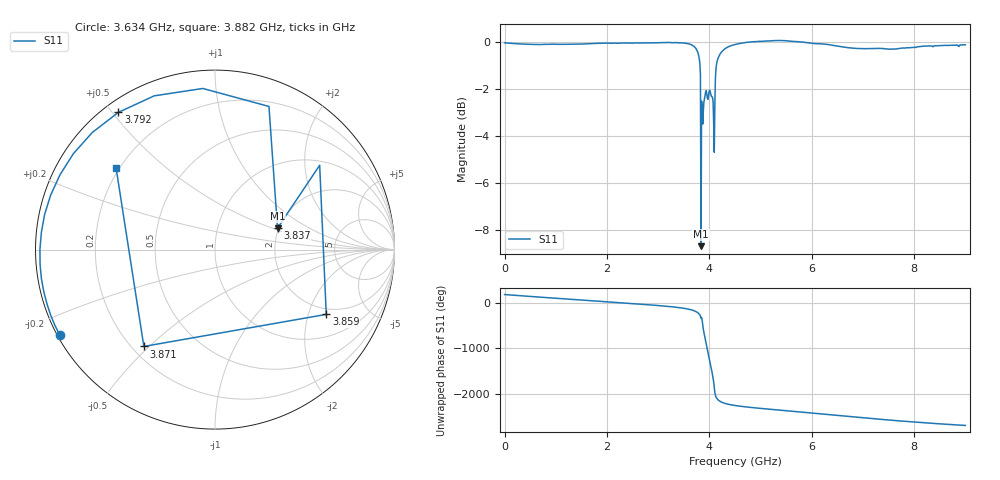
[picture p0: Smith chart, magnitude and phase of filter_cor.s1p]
# Hz S RI R 50
! CMT, SC5090, 20109241, 21.3.2/2
! Date: 11/4/2021 12:48:17 PM
! Data: Format (Calibration Info)
! Freq	S11:Re/Im(F1)
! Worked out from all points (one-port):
!   801 points, 1 MHz to 9 GHz, reference 50 ohm
!   lowest |S11| = -8.7 dB at 3.837 GHz (marker M1), VSWR 2.17, Z = 98.4 + j27.3 ohm
!   |S11| at or under -10 dB: nowhere
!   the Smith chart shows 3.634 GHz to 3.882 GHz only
!   S11 on the Smith chart (normalised r, x): 3.634 GHz: 0.01, -0.26; 3.792 GHz: 0.04, +0.52; 3.837 GHz: 1.97, +0.55; 3.859 GHz: 1.77, -2.63; 3.871 GHz: 0.25, -0.48; 3.882 GHz: 0.19, +0.35
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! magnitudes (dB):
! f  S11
! 1 MHz  0.0
! 1.126 GHz  -0.1
! 2.251 GHz  0.0
! 3.376 GHz  0.0
! 3.634 GHz  -0.1
! 3.724 GHz  -0.2
! 3.769 GHz  -0.4
! 3.781 GHz  -0.5
! 3.792 GHz  -0.6
! 3.837 GHz  -8.7
! 3.859 GHz  -2.9
! 3.871 GHz  -3.5
! 3.882 GHz  -2.9
! 3.893 GHz  -2.5
! 3.961 GHz  -2.4
! 4.028 GHz  -2.2
! 4.051 GHz  -2.3
! 4.073 GHz  -2.6
! 4.129 GHz  -1.1
! 4.152 GHz  -0.8
! 4.163 GHz  -0.7
! 4.186 GHz  -0.6
! 4.298 GHz  -0.3
! 4.5 GHz  -0.1
! 5.625 GHz  0.0
! 6.75 GHz  -0.3
! 7.875 GHz  -0.2
! 9 GHz  -0.1
